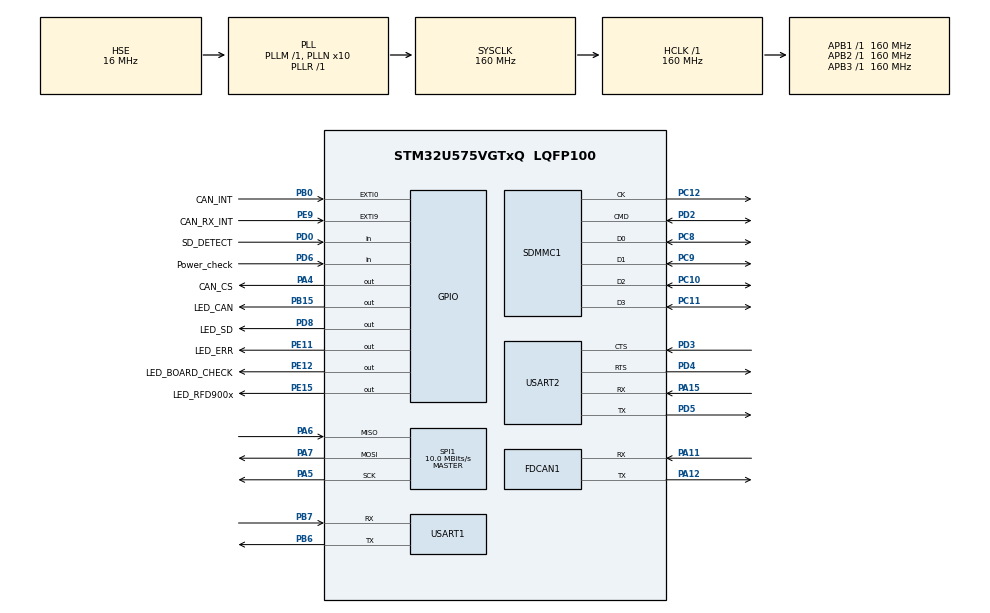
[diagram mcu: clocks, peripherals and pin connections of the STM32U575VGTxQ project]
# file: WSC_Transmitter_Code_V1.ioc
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CORTEX_M33_NS.userName=CORTEX_M33
FDCAN1.AutoRetransmission=ENABLE
FDCAN1.CalculateBaudRateNominal=500000
FDCAN1.CalculateTimeBitNominal=2000
FDCAN1.CalculateTimeQuantumNominal=125.0
FDCAN1.NominalPrescaler=10
FDCAN1.NominalSyncJumpWidth=3
FDCAN1.NominalTimeSeg1=12
FDCAN1.NominalTimeSeg2=3
FDCAN1.StdFiltersNbr=3
FILEX.FILEX_APPLICATION_THREAD_STACK_SIZE=2048
FILEX.FX_APP_MEM_POOL_SIZE=16384
FILEX.FX_ENABLE_EXFAT=1
FILEX.FX_ENABLE_FAULT_TOLERANT=1
FILEX.FX_SD_INTERFACE=1
FILEX.useRTOS=1
GPDMA1.CIRCULARMODE_GPDMACH1=DISABLE
GPDMA1.DESTINC_GPDMACH1=DMA_DINC_INCREMENTED
GPDMA1.DESTINC_GPDMACH2=DMA_DINC_FIXED
GPDMA1.DIRECTION_GPDMACH2=DMA_MEMORY_TO_PERIPH
GPDMA1.IPHANDLE_GPDMACH1-SIMPLEREQUEST_GPDMACH1=__NULL
GPDMA1.IPHANDLE_GPDMACH2-SIMPLEREQUEST_GPDMACH2=__NULL
GPDMA1.REQUEST_GPDMACH1=GPDMA1_REQUEST_USART2_RX
GPDMA1.REQUEST_GPDMACH2=GPDMA1_REQUEST_USART2_TX
GPDMA1.SRCINC_GPDMACH2=DMA_SINC_INCREMENTED
IWDG.Prescaler=IWDG_PRESCALER_64
IWDG.Reload=2000
Mcu.Family=STM32U5
Mcu.Name=STM32U575VGTxQ
Mcu.Package=LQFP100
NVIC.EXTI0_IRQn=true\:2\:0\:false\:false\:true\:false\:true\:true\:true
NVIC.EXTI9_IRQn=true\:2\:0\:false\:false\:true\:false\:true\:true\:true
NVIC.FDCAN1_IT0_IRQn=true\:1\:0\:false\:false\:true\:false\:true\:true\:true
NVIC.FDCAN1_IT1_IRQn=true\:1\:0\:false\:false\:true\:false\:true\:true\:true
NVIC.GPDMA1_Channel1_IRQn=true\:3\:0\:true\:false\:true\:true\:false\:true\:true
NVIC.GPDMA1_Channel2_IRQn=true\:3\:0\:false\:false\:true\:false\:false\:true\:true
NVIC.PriorityGroup=NVIC_PRIORITYGROUP_4
NVIC.SDMMC1_IRQn=true\:2\:0\:false\:false\:true\:false\:true\:true\:true
NVIC.SPI1_IRQn=true\:2\:0\:false\:false\:true\:false\:true\:true\:true
NVIC.TIM5_IRQn=true\:1\:0\:false\:false\:true\:false\:true\:true\:true
NVIC.TIM6_IRQn=true\:15\:0\:false\:false\:true\:false\:false\:true\:true
NVIC.TimeBase=TIM6_IRQn
NVIC.TimeBaseIP=TIM6
NVIC.USART2_IRQn=true\:2\:0\:false\:false\:true\:false\:false\:true\:true
PA11.Mode=FDCAN_Activate
PA11.Signal=FDCAN1_RX
PA12.Mode=FDCAN_Activate
PA12.Signal=FDCAN1_TX
PA13\ (JTMS/SWDIO).Mode=Serial_Wire
PA13\ (JTMS/SWDIO).Signal=DEBUG_JTMS-SWDIO
PA14\ (JTCK/SWCLK).Mode=Serial_Wire
PA14\ (JTCK/SWCLK).Signal=DEBUG_JTCK-SWCLK
PA15\ (JTDI).Mode=Asynchronous
PA15\ (JTDI).Signal=USART2_RX
PA4.GPIO_Label=CAN_CS
PA4.GPIO_Speed=GPIO_SPEED_FREQ_HIGH
PA4.PinState=GPIO_PIN_SET
PA4.Signal=GPIO_Output
PA5.Mode=Full_Duplex_Master
PA5.Signal=SPI1_SCK
PA6.Mode=Full_Duplex_Master
PA6.Signal=SPI1_MISO
PA7.Mode=Full_Duplex_Master
PA7.Signal=SPI1_MOSI
PB0.GPIO_Label=CAN_INT
PB0.GPIO_ModeDefaultEXTI=GPIO_MODE_IT_FALLING
PB0.GPIO_PuPd=GPIO_PULLUP
PB0.Signal=GPXTI0
PD6.GPIO_Label=Power_check
PD6.Signal=GPIO_Input
PB15.GPIO_Label=LED_CAN
PB15.Signal=GPIO_Output
PB6.Mode=Asynchronous
PB6.Signal=USART1_TX
PB7.Mode=Asynchronous
PB7.Signal=USART1_RX
PC10.Mode=SD_4_bits_Wide_bus
PC10.Signal=SDMMC1_D2
PC11.Mode=SD_4_bits_Wide_bus
PC11.Signal=SDMMC1_D3
PC12.Mode=SD_4_bits_Wide_bus
PC12.Signal=SDMMC1_CK
PC14-OSC32_IN\ (PC14).Mode=LSE-External-Oscillator
PC14-OSC32_IN\ (PC14).Signal=RCC_OSC32_IN
PC15-OSC32_OUT\ (PC15).Mode=LSE-External-Oscillator
PC15-OSC32_OUT\ (PC15).Signal=RCC_OSC32_OUT
PC8.Mode=SD_4_bits_Wide_bus
PC8.Signal=SDMMC1_D0
PC9.Mode=SD_4_bits_Wide_bus
PC9.Signal=SDMMC1_D1
PD0.GPIO_Label=SD_DETECT
PD0.GPIO_PuPd=GPIO_PULLUP
PD0.Signal=GPIO_Input
PD2.Mode=SD_4_bits_Wide_bus
PD2.Signal=SDMMC1_CMD
PD3.Mode=CTS_RTS
PD3.Signal=USART2_CTS
PD4.Mode=CTS_RTS
PD4.Signal=USART2_RTS
PD5.Mode=Asynchronous
PD5.Signal=USART2_TX
PD8.GPIO_Label=LED_SD
PD8.Signal=GPIO_Output
PE11.GPIO_Label=LED_ERR
PE11.Signal=GPIO_Output
PE12.GPIO_Label=LED_BOARD_CHECK
PE12.Signal=GPIO_Output
PE15.GPIO_Label=LED_RFD900x
PE15.Signal=GPIO_Output
PE9.GPIO_Label=CAN_RX_INT
PE9.GPIO_ModeDefaultEXTI=GPIO_MODE_IT_FALLING
PE9.GPIO_PuPd=GPIO_PULLUP
PE9.Signal=GPXTI9
PH0-OSC_IN\ (PH0).Mode=HSE-External-Oscillator
PH0-OSC_IN\ (PH0).Signal=RCC_OSC_IN
PH1-OSC_OUT\ (PH1).Mode=HSE-External-Oscillator
PH1-OSC_OUT\ (PH1).Signal=RCC_OSC_OUT
PWR.PowerMode=PWR_SMPS_SUPPLY
PWR.pwrPrivilegeSecure=PWR_PRIVILEGE_SECURE_NO
ProjectManager.HeapSize=0x200
ProjectManager.StackSize=0x400
ProjectManager.TargetToolchain=Makefile
RCC.ADCFreq_Value=16000000
RCC.AHBFreq_Value=160000000
RCC.APB1Freq_Value=160000000
RCC.APB1TimFreq_Value=160000000
RCC.APB2Freq_Value=160000000
RCC.APB2TimFreq_Value=160000000
RCC.APB3Freq_Value=160000000
RCC.CortexFreq_Value=160000000
RCC.EPOD_VALUE=16000000
RCC.HCLKFreq_Value=160000000
RCC.HSE_VALUE=16000000
RCC.HSI48_VALUE=48000000
RCC.HSI_VALUE=16000000
RCC.LSIDIV_VALUE=32000
RCC.MSIClockRange=RCC_MSIRANGE_0
RCC.MSI_VALUE=48000000
RCC.PLL1R=1
RCC.PLL2FRACN=0
RCC.PLL3FRACN=0
RCC.PLLFRACN=0
RCC.PLLM=1
RCC.PLLN=10
RCC.PLLSourceVirtual=RCC_PLLSOURCE_HSE
RCC.RTCClockSelection=RCC_RTCCLKSOURCE_LSE
RCC.SYSCLKFreq_VALUE=160000000
RCC.SYSCLKSource=RCC_SYSCLKSOURCE_PLLCLK
RCC.USBFreq_Value=48000000
RCC.VCOOutputFreq_Value=160000000
RTC.AsynchPrediv=127
RTC.SynchPrediv=255
SDMMC1.ClockDiv=2
SDMMC1.HardwareFlowControl=SDMMC_HARDWARE_FLOW_CONTROL_ENABLE
SDMMC1.ClockPowerSave=SDMMC_CLOCK_POWER_SAVE_ENABLE
SDMMC1.TransceiverPresent=SDMMC_TRANSCEIVER_NOT_PRESENT
SPI1.BaudRatePrescaler=SPI_BAUDRATEPRESCALER_16
SPI1.CalculateBaudRate=10.0 MBits/s
SPI1.DataSize=SPI_DATASIZE_8BIT
SPI1.Direction=SPI_DIRECTION_2LINES
SPI1.Mode=SPI_MODE_MASTER
SPI1.VirtualType=VM_MASTER
THREADX.TX_APP_GENERATE_INIT_CODE=true
THREADX.TX_APP_MEM_POOL_SIZE=16384
THREADX.TX_TIMER_TICKS_PER_SECOND=1000
TIM5.PeriodNoDither=999
TIM5.Prescaler=15999
USART1.VirtualMode-Asynchronous=VM_ASYNC
USART2.FIFOMode=FIFOMODE_ENABLE
USART2.VirtualMode-Asynchronous=VM_ASYNC
VP_FILEX_VS_FileOoSystemJjFileXJjCore.Mode=FileX_Core
VP_FILEX_VS_SDOointerface.Mode=SD_interface
VP_GPDMA1_VS_GPDMACH1.Mode=SIMPLEREQUEST_GPDMACH1
VP_GPDMA1_VS_GPDMACH2.Mode=SIMPLEREQUEST_GPDMACH2
VP_ICACHE_VS_ICACHE.Mode=DefaultMode
VP_IWDG_VS_IWDG.Mode=IWDG_Activate
VP_LPBAMQUEUE_VS_QUEUE.Mode=QUEUEMODE
VP_LPBAM_VS_SIG1.Mode=SmartRun
VP_LPBAM_VS_SIG4.Mode=LPDMA1
VP_MEMORYMAP_VS_MEMORYMAP.Mode=CurAppReg
VP_PWR_VS_LPOM.Mode=PowerOptimisation
VP_PWR_VS_SECSignals.Mode=Security/Privilege
VP_RTC_VS_RTC_Activate.Mode=RTC_Enabled
VP_RTC_VS_RTC_Calendar.Mode=RTC_Calendar
VP_SYS_VS_tim6.Mode=TIM6
VP_THREADX_VS_RTOSJjThreadXJjCoreJjDefault.Mode=Core_Default
VP_TIM5_VS_ClockSourceINT.Mode=Internal
board=custom

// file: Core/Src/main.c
/* USER CODE BEGIN Header */
/**
  ******************************************************************************
  * @file           : main.c
  * @brief          : Main program body
  ******************************************************************************
  * @attention
  *
  * Copyright (c) 2026 STMicroelectronics.
  * All rights reserved.
  *
  * This software is licensed under terms that can be found in the LICENSE file
  * in the root directory of this software component.
  * If no LICENSE file comes with this software, it is provided AS-IS.
  *
  ******************************************************************************
  */
/* USER CODE END Header */
#include "app_threadx.h"
#include "main.h"
#include "fdcan.h"
#include "gpdma.h"
#include "icache.h"
#include "iwdg.h"
#include "rtc.h"
#include "sdmmc.h"
#include "spi.h"
#include "tim.h"
#include "usart.h"
#include "gpio.h"

/* USER CODE BEGIN Includes */
#include "phase_config.h"
#include "types.h"
#include "can_receiver.h"
#include "ext_can_controller.h"
#include "gps.h"
#include "timer_scheduler.h"      /* Timer_Scheduler_Start/Tick (Phase 4)  */
#include "uart_transmitter.h"     /* UART 콜백 훅 (Phase 4/4.5)            */
/* USER CODE END Includes */

/* USER CODE BEGIN PV */
volatile uint8_t g_init_nonfatal = 0;

volatile uint8_t g_sd_hw_ok = 0;

volatile uint32_t g_boot_reset_csr    = 0;
volatile uint32_t g_boot_stack_thread = 0;

/* USER CODE END PV */

void SystemClock_Config(void);
static void SystemPower_Config(void);

/* USER CODE BEGIN 0 */
extern SYSTEM_STATE SystemState;

static volatile uint32_t fault_tick[FAULT_IDX_COUNT] = {0};

void SystemState_MarkFault(uint8_t idx)
{
  if (idx < FAULT_IDX_COUNT)
  {
    uint32_t now = HAL_GetTick();
    fault_tick[idx] = (now == 0u) ? 1u : now;
  }
}

uint8_t SystemState_FaultHoldExpired(uint8_t idx)
{
  if (idx >= FAULT_IDX_COUNT)
    return 1u;

  uint32_t t = fault_tick[idx];
  if (t == 0u)
    return 1u;

  return (uint8_t)((HAL_GetTick() - t) >= SUBSYS_FAULT_HOLD_MS);
}

void SystemState_RefreshBoardLed(void)
{
  uint32_t primask = __get_PRIMASK();
  __disable_irq();

  uint8_t healthy = (uint8_t)(SystemState.can_ok && SystemState.mcp_ok);
#if PHASE4_UART_PIPELINE
  healthy = (uint8_t)(healthy && SystemState.uart_ok);
#endif
#if PHASE5_SD_LOGGING
  healthy = (uint8_t)(healthy && SystemState.sd_ok);
#endif
  HAL_GPIO_WritePin(LED_BOARD_CHECK_GPIO_Port, LED_BOARD_CHECK_Pin,
                     healthy ? GPIO_PIN_SET : GPIO_PIN_RESET);

  __set_PRIMASK(primask);
}
/* USER CODE END 0 */

int main(void)
{

  /* MCU Configuration--------------------------------------------------------*/

  /* Reset of all peripherals, Initializes the Flash interface and the Systick. */
  HAL_Init();

  /* Configure the System Power */
  SystemPower_Config();

  /* Configure the system clock */
  SystemClock_Config();

  /* Initialize all configured peripherals */
  MX_GPIO_Init();
  MX_GPDMA1_Init();
  MX_RTC_Init();
  MX_FDCAN1_Init();
  MX_ICACHE_Init();
  MX_USART2_UART_Init();
  MX_IWDG_Init();
  /* MX_SDMMC1_SD_Init() 는 여기서 부르지 않는다 — .ioc functionlistsort 에서
     자동 호출을 끄고 USER CODE BEGIN 2 에서 비치명으로 초기화한다. */
  MX_SPI1_Init();
  MX_TIM5_Init();
  MX_USART1_UART_Init();
  /* USER CODE BEGIN 2 */

  g_boot_reset_csr = RCC->CSR & (RCC_CSR_IWDGRSTF | RCC_CSR_SFTRSTF | RCC_CSR_PINRSTF
                                 | RCC_CSR_BORRSTF | RCC_CSR_WWDGRSTF | RCC_CSR_LPWRRSTF
                                 | RCC_CSR_OBLRSTF);
  __HAL_RCC_CLEAR_RESET_FLAGS();
  {
    uint32_t mark = TAMP->BKP2R;
    if ((mark & BOOT_STACK_MARKER_MASK) == BOOT_STACK_MARKER)
    {
      g_boot_stack_thread = mark & 0xFFu;
      if (g_boot_stack_thread == 0u)
        g_boot_stack_thread = BOOT_THREAD_OTHER;
    }
    TAMP->BKP2R = 0u;
  }

  g_init_nonfatal = 1u;
  MX_SDMMC1_SD_Init();
  if (g_init_nonfatal == 2u)
  {
    SystemState.sd_ok = 0;
    HAL_GPIO_WritePin(LED_SD_GPIO_Port, LED_SD_Pin, GPIO_PIN_SET);
  }
  g_sd_hw_ok = (g_init_nonfatal == 2u) ? 0u : 1u;
  g_init_nonfatal = 0u;

  /* CAN 수신 모듈 초기화 (FDCAN1) */
  if (CAN_Receiver_Init() != HAL_OK)
  {
    HAL_GPIO_WritePin(LED_ERR_GPIO_Port, LED_ERR_Pin, GPIO_PIN_SET);
    g_init_fail_mask |= 0x1u;
    SystemState.error = 1;
  }

  /* 외부 CAN 컨트롤러 초기화 (MCP2518FD via SPI1) */
  if (ExtCAN_Init() != HAL_OK)
  {
    HAL_GPIO_WritePin(LED_ERR_GPIO_Port, LED_ERR_Pin, GPIO_PIN_SET);
    g_init_fail_mask |= 0x2u;
    SystemState.error = 1;
  }

  /* ── VehicleData 무임계구역 설계의 불변식 검증 (시스템 점검 발견) ──
     FDCAN1 ISR(CAN 수신 → VehicleData 쓰기)과 TIM5 ISR(VehicleData 읽기
     → 패킷 생성)이 서로 선점하지 못해야 별도 락 없이 안전하다. 이는
     "두 IRQ의 preemption priority가 같다"는 CubeMX NVIC 설정에만 의존하는
     전제라, CubeMX 재생성/실수로 어긋나도 컴파일은 통과해 조용히 데이터
     경합이 생길 수 있다. 부팅 시 직접 확인해 어긋나면 즉시 정지시킨다. */
  {
    uint32_t pg = HAL_NVIC_GetPriorityGrouping();
    uint32_t fdcan0_pre, fdcan0_sub, fdcan1_pre, fdcan1_sub, tim5_pre, tim5_sub;
    HAL_NVIC_GetPriority(FDCAN1_IT0_IRQn, pg, &fdcan0_pre, &fdcan0_sub);
    HAL_NVIC_GetPriority(FDCAN1_IT1_IRQn, pg, &fdcan1_pre, &fdcan1_sub);
    HAL_NVIC_GetPriority(TIM5_IRQn,       pg, &tim5_pre,   &tim5_sub);

    if (fdcan0_pre != tim5_pre || fdcan1_pre != tim5_pre)
    {
      /* 불변식 위반 — VehicleData 데이터 경합 위험. 계속 진행하지 않는다. */
      HAL_GPIO_WritePin(LED_ERR_GPIO_Port, LED_ERR_Pin, GPIO_PIN_SET);
      Error_Handler();
    }
  }

  SystemState_RefreshBoardLed();

#if PHASE4_UART_PIPELINE || TEMP_S3_TIMEOUT_TEST
  /* TIM5 스케줄러 시작 (task 12.2) — 커널 진입 전 tick의 큐 전송은
     ThreadX queue-id 검사로 안전하게 드롭됨 (알려진 이슈 '초기화 순서') */
  Timer_Scheduler_Start();
#endif

  /* USER CODE END 2 */

  MX_ThreadX_Init();

  /* We should never get here as control is now taken by the scheduler */

  /* Infinite loop */
  while (1)
  {

  }
}

void SystemClock_Config(void)
{
  RCC_OscInitTypeDef RCC_OscInitStruct = {0};
  RCC_ClkInitTypeDef RCC_ClkInitStruct = {0};

  /** Configure LSE Drive Capability
  */
  HAL_PWR_EnableBkUpAccess();
  __HAL_RCC_LSEDRIVE_CONFIG(RCC_LSEDRIVE_HIGH);

  /** Configure the main internal regulator output voltage
  */
  if (HAL_PWREx_ControlVoltageScaling(PWR_REGULATOR_VOLTAGE_SCALE1) != HAL_OK)
  {
    Error_Handler();
  }

  /** Initializes the CPU, AHB and APB buses clocks
  */
  RCC_OscInitStruct.OscillatorType = RCC_OSCILLATORTYPE_HSE|RCC_OSCILLATORTYPE_LSI
                              |RCC_OSCILLATORTYPE_LSE;
  RCC_OscInitStruct.HSEState = RCC_HSE_ON;
  RCC_OscInitStruct.LSEState = RCC_LSE_ON;
  RCC_OscInitStruct.LSIState = RCC_LSI_ON;
  RCC_OscInitStruct.LSIDiv = RCC_LSI_DIV1;
  RCC_OscInitStruct.PLL.PLLState = RCC_PLL_ON;
  RCC_OscInitStruct.PLL.PLLSource = RCC_PLLSOURCE_HSE;
  RCC_OscInitStruct.PLL.PLLMBOOST = RCC_PLLMBOOST_DIV2;
  RCC_OscInitStruct.PLL.PLLM = 1;
  RCC_OscInitStruct.PLL.PLLN = 10;
  RCC_OscInitStruct.PLL.PLLP = 2;
  RCC_OscInitStruct.PLL.PLLQ = 2;
  RCC_OscInitStruct.PLL.PLLR = 1;
  RCC_OscInitStruct.PLL.PLLRGE = RCC_PLLVCIRANGE_1;
  RCC_OscInitStruct.PLL.PLLFRACN = 0;
  if (HAL_RCC_OscConfig(&RCC_OscInitStruct) != HAL_OK)
  {
    Error_Handler();
  }

  /** Initializes the CPU, AHB and APB buses clocks
  */
  RCC_ClkInitStruct.ClockType = RCC_CLOCKTYPE_HCLK|RCC_CLOCKTYPE_SYSCLK
                              |RCC_CLOCKTYPE_PCLK1|RCC_CLOCKTYPE_PCLK2
                              |RCC_CLOCKTYPE_PCLK3;
  RCC_ClkInitStruct.SYSCLKSource = RCC_SYSCLKSOURCE_PLLCLK;
  RCC_ClkInitStruct.AHBCLKDivider = RCC_SYSCLK_DIV1;
  RCC_ClkInitStruct.APB1CLKDivider = RCC_HCLK_DIV1;
  RCC_ClkInitStruct.APB2CLKDivider = RCC_HCLK_DIV1;
  RCC_ClkInitStruct.APB3CLKDivider = RCC_HCLK_DIV1;

  if (HAL_RCC_ClockConfig(&RCC_ClkInitStruct, FLASH_LATENCY_4) != HAL_OK)
  {
    Error_Handler();
  }
}

/**
  * @brief Power Configuration
  * @retval None
  */
static void SystemPower_Config(void)
{

  /*
   * Switch to SMPS regulator instead of LDO
   */
  if (HAL_PWREx_ConfigSupply(PWR_SMPS_SUPPLY) != HAL_OK)
  {
    Error_Handler();
  }
}

/* USER CODE BEGIN 4 */

/**
  * @brief  FDCAN Rx FIFO0 콜백 — CAN_Receiver로 전달
  */
void HAL_FDCAN_RxFifo0Callback(FDCAN_HandleTypeDef *hfdcan, uint32_t RxFifo0ITs)
{
  CAN_Receiver_RxCallback(hfdcan, RxFifo0ITs);
}

/**
  * @brief  FDCAN 프로토콜 에러 콜백 — CAN_Receiver로 전달
  */
void HAL_FDCAN_ErrorCallback(FDCAN_HandleTypeDef *hfdcan)
{
  CAN_Receiver_ErrorCallback(hfdcan);
}

/**
  * @brief  FDCAN 에러 상태 콜백 — Bus-Off/Error Passive/Warning
  */
void HAL_FDCAN_ErrorStatusCallback(FDCAN_HandleTypeDef *hfdcan, uint32_t ErrorStatusITs)
{
  CAN_Receiver_ErrorStatusCallback(hfdcan, ErrorStatusITs);
}

/**
  * @brief  GPIO EXTI Falling 콜백 — MCP2518FD 인터럽트 통지
  * @note   MCP2518FD INT는 active-low이므로 falling 엣지로 감지한다.
  *         블로킹 SPI 수신을 ISR에서 수행하지 않기 위해, 세마포어만 set하고
  *         즉시 반환한다. 실제 수신은 MCP_RX_Thread에서 처리한다 (Req 9.7).
  *         CAN_INT(PB0, nINT/INT0)와 CAN_RX_INT(PE9, INT1/RX) 모두 연결.
  */
void HAL_GPIO_EXTI_Falling_Callback(uint16_t GPIO_Pin)
{
  if (GPIO_Pin == CAN_INT_Pin || GPIO_Pin == CAN_RX_INT_Pin)
  {
    ExtCAN_NotifyInterrupt();
  }
}

#if PHASE4_UART_PIPELINE
/**
  * @brief  UART DMA 송신 완료 콜백 — 세마포어 put (task 12.3, Req 7.5)
  */
void HAL_UART_TxCpltCallback(UART_HandleTypeDef *huart)
{
  UART_Transmitter_TxCpltCallback(huart);
}

/**
  * @brief  UART 오류 콜백 — ERR_UART_DMA LOG + LED (task 10.1, Req 7.7)
  */
void HAL_UART_ErrorCallback(UART_HandleTypeDef *huart)
{
  UART_Transmitter_ErrorCallback(huart);
#if PHASE8_GPS
  GPS_ErrorCallback(huart);
#endif

}
#endif /* PHASE4_UART_PIPELINE */

#if PHASE8_GPS
void HAL_UART_RxCpltCallback(UART_HandleTypeDef *huart)
{
  GPS_RxCpltCallback(huart);
}
#endif

#if PHASE45_UART_RX_CAN_TX
/**
  * @brief  UART RX IDLE 이벤트 콜백 — 지상국 프레임 수신 (task 13A.1)
  */
void HAL_UARTEx_RxEventCallback(UART_HandleTypeDef *huart, uint16_t Size)
{
  UART_Transmitter_RxEventCallback(huart, Size);
}
#endif /* PHASE45_UART_RX_CAN_TX */

/* USER CODE END 4 */

void HAL_TIM_PeriodElapsedCallback(TIM_HandleTypeDef *htim)
{
  if (htim->Instance == TIM6)
  {
    HAL_IncTick();
  }
  /* USER CODE BEGIN Callback 1 */
#if PHASE4_UART_PIPELINE || TEMP_S3_TIMEOUT_TEST
  if (htim->Instance == TIM5)
  {
    Timer_Scheduler_Tick();   /* 100ms 스케줄러 (task 12.3) */
  }
#endif
  /* USER CODE END Callback 1 */
}

void Error_Handler(void)
{
  /* USER CODE BEGIN Error_Handler_Debug */
  if (g_init_nonfatal != 0u)
  {
    g_init_nonfatal = 2u;
    return;
  }

  /* User can add his own implementation to report the HAL error return state */
  __HAL_RCC_GPIOE_CLK_ENABLE();
  {
    GPIO_InitTypeDef led = {0};
    led.Pin   = LED_ERR_Pin;
    led.Mode  = GPIO_MODE_OUTPUT_PP;
    led.Pull  = GPIO_NOPULL;
    led.Speed = GPIO_SPEED_FREQ_LOW;
    HAL_GPIO_Init(LED_ERR_GPIO_Port, &led);
  }
  HAL_GPIO_WritePin(LED_ERR_GPIO_Port, LED_ERR_Pin, GPIO_PIN_SET);

  __disable_irq();
  while (1)
  {
  }
  /* USER CODE END Error_Handler_Debug */
}
